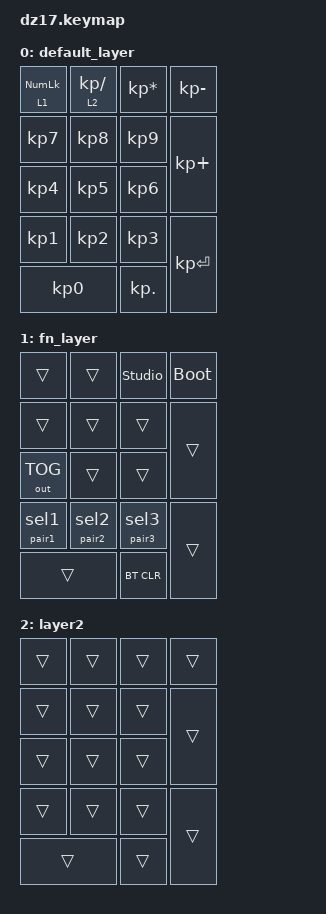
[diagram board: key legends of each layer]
#include <behaviors.dtsi>
#include <dt-bindings/zmk/keys.h>
#include <dt-bindings/zmk/bt.h>
#include <dt-bindings/zmk/reset.h>
#include <dt-bindings/zmk/outputs.h>

/ {
    // Logitech-style channel keys:
    //   TAP  FN+1/2/3  = switch channel (pairing kept, reconnect attempts)
    //   HOLD FN+1/2/3 (1s) = pairing mode: selects that channel and clears
    //                       its bond, so it fast-blinks and accepts a new
    //                       host. The &pair_X macro = BT_SEL X then BT_CLR;
    //                       &sel_X = BT_SEL X only (bond kept for reconnect).
    behaviors {
        pair1: pair_profile1 {
            compatible = "zmk,behavior-macro";
            #binding-cells = <0>;
            tap-ms = <50>;
            bindings = <&bt BT_SEL 0 &bt BT_CLR>;
        };
        pair2: pair_profile2 {
            compatible = "zmk,behavior-macro";
            #binding-cells = <0>;
            tap-ms = <50>;
            bindings = <&bt BT_SEL 1 &bt BT_CLR>;
        };
        pair3: pair_profile3 {
            compatible = "zmk,behavior-macro";
            #binding-cells = <0>;
            tap-ms = <50>;
            bindings = <&bt BT_SEL 2 &bt BT_CLR>;
        };
        sel1: select_profile1 {
            compatible = "zmk,behavior-macro";
            #binding-cells = <0>;
            bindings = <&bt BT_SEL 0>;
        };
        sel2: select_profile2 {
            compatible = "zmk,behavior-macro";
            #binding-cells = <0>;
            bindings = <&bt BT_SEL 1>;
        };
        sel3: select_profile3 {
            compatible = "zmk,behavior-macro";
            #binding-cells = <0>;
            bindings = <&bt BT_SEL 2>;
        };
        ch1: ch_key1 {
            compatible = "zmk,behavior-hold-tap";
            label = "CH1 (tap select / hold pair)";
            #binding-cells = <2>;
            flavor = "tap-preferred";
            tapping-term-ms = <1000>;
            bindings = <&pair1 &sel1>;
        };
        ch2: ch_key2 {
            compatible = "zmk,behavior-hold-tap";
            label = "CH2 (tap select / hold pair)";
            #binding-cells = <2>;
            flavor = "tap-preferred";
            tapping-term-ms = <1000>;
            bindings = <&pair2 &sel2>;
        };
        ch3: ch_key3 {
            compatible = "zmk,behavior-hold-tap";
            label = "CH3 (tap select / hold pair)";
            #binding-cells = <2>;
            flavor = "tap-preferred";
            tapping-term-ms = <1000>;
            bindings = <&pair3 &sel3>;
        };
    };

    keymap {
        compatible = "zmk,keymap";

        // Layer 0: Default numpad
        //   NUM = LT(1): tap NumLock, hold for FN layer
        //   /   = LT(2): tap Divide, hold for layer 2
        default_layer {
            bindings = <
                &lt 1 KP_NUMLOCK  &lt 2 KP_DIVIDE  &kp KP_MULTIPLY  &kp KP_MINUS
                &kp KP_N7         &kp KP_N8        &kp KP_N9        &kp KP_PLUS
                &kp KP_N4         &kp KP_N5        &kp KP_N6        &kp KP_ENTER
                &kp KP_N1         &kp KP_N2        &kp KP_N3
                &kp KP_N0                          &kp KP_DOT
            >;
        };

        // Layer 1 (hold NUM): Bluetooth + USB toggle + System
        //   FN+1/2/3 = TAP switch channel / HOLD 1s pairing mode,
        //   FN+4 = toggle USB/BLE,
        //   FN+* = Studio unlock, FN+- = bootloader, FN+. = clear pairings
        fn_layer {
            bindings = <
                &trans       &trans       &studio_unlock   &bootloader
                &trans       &trans       &trans           &trans
                &out OUT_TOG &trans       &trans           &trans
                &ch1 0 0     &ch2 0 0     &ch3 0 0
                &trans                      &bt BT_CLR
            >;
        };

        // Layer 2 (hold "/"): reserved. WS2812 RGB controls removed with the
        // monochrome LED conversion; layer kept so LT(2) stays valid.
        layer2 {
            bindings = <
                &trans &trans &trans &trans
                &trans &trans &trans &trans
                &trans &trans &trans &trans
                &trans &trans &trans
                &trans       &trans
            >;
        };
    };
};
